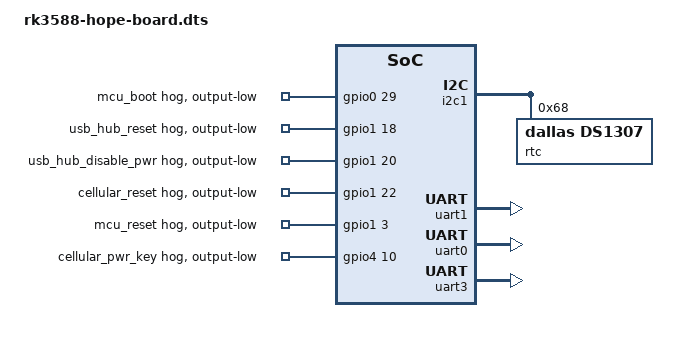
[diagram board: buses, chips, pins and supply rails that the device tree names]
/dts-v1/;
/plugin/;

/ {
    fragment@0 {
        target = <&gpio0>;
        __overlay__ {
            mcu_boot: mcu_boot {
                gpio-hog;

                // GPIO0_D5
                gpios = <29 0>;
                output-low;
                line-name = "mcu_boot";
            };
        };
    };

    fragment@1 {
        target = <&gpio1>;
        __overlay__ {
            usb_hub_reset: usb_hub_reset {
                gpio-hog;

                // GPIO1_C2
                gpios = <18 0>;
                output-low;
                line-name = "usb_hub_reset";
            };

            usb_hub_disable_pwr: usb_hub_disable_pwr {
                gpio-hog;

                // GPIO1_C4
                gpios = <20 0>;
                output-low;
                line-name = "usb_hub_disable_pwr";
            };

            cellular_reset: cellular_reset {
                gpio-hog;

                // GPIO1_C6
                gpios = <22 0>;
                output-low;
                line-name = "cellular_reset";
            };

            mcu_reset: mcu_reset {
                gpio-hog;

                // GPIO1_A3
                gpios = <3 0>;
                output-low;
                line-name = "mcu_reset";
            };
        };
    };

    fragment@2 {
        target = <&gpio4>;
        __overlay__ {
            cellular_pwr_key: cellular_pwr_key {
                gpio-hog;

                // GPIO4_B2
                gpios = <10 0>;
                output-low;
                line-name = "cellular_pwr_key";
            };
        };
    };

    // Main I2C bus for HOPE-X base board
    fragment@3 {
		target = <&i2c1>;

		__overlay__ {
			status = "okay";
			pinctrl-names = "default";
			pinctrl-0 = <&i2c1m4_xfer>;
		};
	};

    // DB9 RS-232 main communication UART
    fragment@4 {
		target = <&uart1>;

		__overlay__ {
			status = "okay";
			pinctrl-0 = <&uart1m1_xfer>;
		};
	};

    // DB9 RS-232 AUX communication UART
    fragment@5 {
		target = <&uart0>;

		__overlay__ {
			status = "okay";
			pinctrl-0 = <&uart0m2_xfer>;
		};
	};

    // RS-485 UART
    fragment@6 {
		target = <&uart3>;

		__overlay__ {
			status = "okay";
			pinctrl-0 = <&uart3m0_xfer>;
		};
	};

    // Enable DS1307 RTC driver on I2C1
    fragment@7 {
        target = <&i2c1>;
        __overlay__ {
            status = "okay";

            rtc@68 {
                compatible = "dallas,ds1307";
                reg = <0x68>;
                status = "okay";
            };
        };
    };
};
